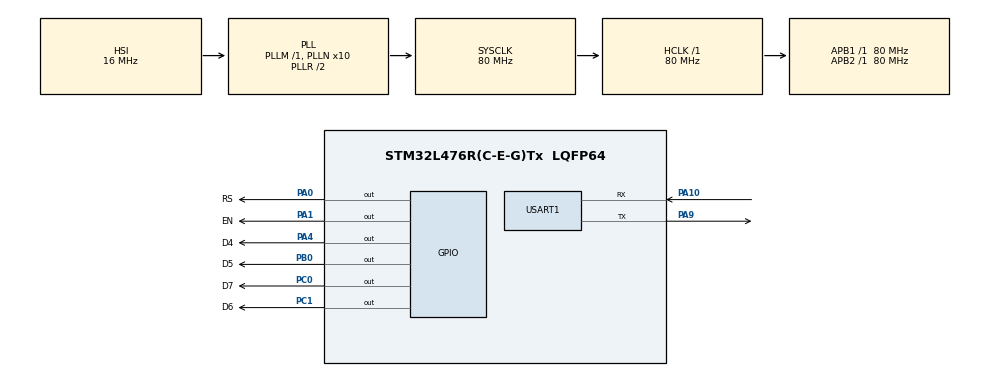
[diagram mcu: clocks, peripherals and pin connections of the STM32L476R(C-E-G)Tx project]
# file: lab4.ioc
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Dma.Request0=USART1_RX
Dma.Request1=USART1_TX
Dma.USART1_RX.0.Direction=DMA_PERIPH_TO_MEMORY
Dma.USART1_RX.0.Instance=DMA1_Channel5
Dma.USART1_RX.0.MemDataAlignment=DMA_MDATAALIGN_BYTE
Dma.USART1_RX.0.MemInc=DMA_MINC_ENABLE
Dma.USART1_RX.0.Mode=DMA_CIRCULAR
Dma.USART1_RX.0.PeriphDataAlignment=DMA_PDATAALIGN_BYTE
Dma.USART1_RX.0.PeriphInc=DMA_PINC_DISABLE
Dma.USART1_RX.0.Priority=DMA_PRIORITY_LOW
Dma.USART1_TX.1.Direction=DMA_MEMORY_TO_PERIPH
Dma.USART1_TX.1.Instance=DMA1_Channel4
Dma.USART1_TX.1.MemDataAlignment=DMA_MDATAALIGN_BYTE
Dma.USART1_TX.1.MemInc=DMA_MINC_ENABLE
Dma.USART1_TX.1.Mode=DMA_CIRCULAR
Dma.USART1_TX.1.PeriphDataAlignment=DMA_PDATAALIGN_BYTE
Dma.USART1_TX.1.PeriphInc=DMA_PINC_DISABLE
Dma.USART1_TX.1.Priority=DMA_PRIORITY_LOW
Mcu.Family=STM32L4
Mcu.Name=STM32L476R(C-E-G)Tx
Mcu.Package=LQFP64
NVIC.DMA1_Channel4_IRQn=true\:0\:0\:false\:false\:true\:false\:true\:true
NVIC.DMA1_Channel5_IRQn=true\:0\:0\:false\:false\:true\:false\:true\:true
NVIC.PriorityGroup=NVIC_PRIORITYGROUP_4
PA0.GPIO_Label=RS
PA0.Signal=GPIO_Output
PA1.GPIO_Label=EN
PA1.Signal=GPIO_Output
PA10.Mode=Asynchronous
PA10.Signal=USART1_RX
PA3.GPIO_Label=USART_RX
PA3.GPIO_Mode=GPIO_MODE_AF_PP
PA3.GPIO_PuPd=GPIO_NOPULL
PA3.GPIO_Speed=GPIO_SPEED_FREQ_VERY_HIGH
PA3.Signal=USART2_RX
PA4.GPIO_Label=D4
PA4.Signal=GPIO_Output
PA9.Mode=Asynchronous
PA9.Signal=USART1_TX
PB0.GPIO_Label=D5
PB0.Signal=GPIO_Output
PC0.GPIO_Label=D7
PC0.Signal=GPIO_Output
PC1.GPIO_Label=D6
PC1.Signal=GPIO_Output
ProjectManager.HeapSize=0x200
ProjectManager.StackSize=0x400
ProjectManager.TargetToolchain=STM32CubeIDE
RCC.ADCFreq_Value=64000000
RCC.AHBFreq_Value=80000000
RCC.APB1Freq_Value=80000000
RCC.APB1TimFreq_Value=80000000
RCC.APB2Freq_Value=80000000
RCC.APB2TimFreq_Value=80000000
RCC.CortexFreq_Value=80000000
RCC.HCLKFreq_Value=80000000
RCC.HSE_VALUE=8000000
RCC.HSI_VALUE=16000000
RCC.LSE_VALUE=32768
RCC.MSI_VALUE=4000000
RCC.PLLN=10
RCC.PLLSourceVirtual=RCC_PLLSOURCE_HSI
RCC.PREFETCH_ENABLE=1
RCC.SYSCLKFreq_VALUE=80000000
RCC.SYSCLKSource=RCC_SYSCLKSOURCE_PLLCLK
RCC.USBFreq_Value=64000000
RCC.VCOOutputFreq_Value=160000000
USART1.VirtualMode-Asynchronous=VM_ASYNC
board=NUCLEO-L476RG

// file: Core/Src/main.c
/* USER CODE BEGIN Header */
/**
  ******************************************************************************
  * @file           : main.c
  * @brief          : Main program body
  ******************************************************************************
  * @attention
  *
  * Copyright (c) 2025 STMicroelectronics.
  * All rights reserved.
  *
  * This software is licensed under terms that can be found in the LICENSE file
  * in the root directory of this software component.
  * If no LICENSE file comes with this software, it is provided AS-IS.
  *
  ******************************************************************************
  */
/* USER CODE END Header */
#include "main.h"

/* USER CODE BEGIN Includes */
#include "lcd_driver.h"
#include <stdio.h>

/* USER CODE END Includes */

UART_HandleTypeDef huart1;
DMA_HandleTypeDef hdma_usart1_rx;
DMA_HandleTypeDef hdma_usart1_tx;

void SystemClock_Config(void);
static void MX_GPIO_Init(void);
static void MX_DMA_Init(void);
static void MX_USART1_UART_Init(void);
/* USER CODE BEGIN PFP */
uint8_t tx_buff[]={0,1,2,3,4,5,6,7,8,9};
uint8_t rx_buff[10];

/* USER CODE END PFP */

int main(void)
{

  /* USER CODE BEGIN 1 */
	char str[20];

  /* USER CODE END 1 */

  /* MCU Configuration--------------------------------------------------------*/

  /* Reset of all peripherals, Initializes the Flash interface and the Systick. */
  HAL_Init();

  /* Configure the system clock */
  SystemClock_Config();

  /* Initialize all configured peripherals */
  MX_GPIO_Init();
  MX_DMA_Init();
  MX_USART1_UART_Init();
  /* USER CODE BEGIN 2 */
  lcd_init();
  /*create_custom_char(0,cc1);
  create_custom_char(1,cc2);
  create_custom_char(2,cc3);
  create_custom_char(3,cc4);
  create_custom_char(5,cc6);
  create_custom_char(6,cc7);
  create_custom_char(7,cc8);*/

  HAL_UART_Transmit_DMA(&huart1, tx_buff, 10);
  HAL_UART_Receive_DMA(&huart1, rx_buff, 10);

  /* USER CODE END 2 */

  /* Infinite loop */
  while (1)
  {

    /* USER CODE BEGIN 3 */
	  lcd_send_string("Custom characters");
	  HAL_Delay(200);
	  setCursor(0, 1);
	  HAL_Delay (250);  // wait for a while
	  for (int i=0; i<10; i++)
	  {
	  sprintf(str, "%d", rx_buff[i]); lcd_send_string(str);
	  HAL_Delay(300);
	  }
	  HAL_Delay(700);
	  lcd_clear();
	  HAL_Delay(200);
  }
  /* USER CODE END 3 */
}

void SystemClock_Config(void)
{
  RCC_OscInitTypeDef RCC_OscInitStruct = {0};
  RCC_ClkInitTypeDef RCC_ClkInitStruct = {0};

  /** Configure the main internal regulator output voltage
  */
  if (HAL_PWREx_ControlVoltageScaling(PWR_REGULATOR_VOLTAGE_SCALE1) != HAL_OK)
  {
    Error_Handler();
  }

  /** Initializes the RCC Oscillators according to the specified parameters
  * in the RCC_OscInitTypeDef structure.
  */
  RCC_OscInitStruct.OscillatorType = RCC_OSCILLATORTYPE_HSI;
  RCC_OscInitStruct.HSIState = RCC_HSI_ON;
  RCC_OscInitStruct.HSICalibrationValue = RCC_HSICALIBRATION_DEFAULT;
  RCC_OscInitStruct.PLL.PLLState = RCC_PLL_ON;
  RCC_OscInitStruct.PLL.PLLSource = RCC_PLLSOURCE_HSI;
  RCC_OscInitStruct.PLL.PLLM = 1;
  RCC_OscInitStruct.PLL.PLLN = 10;
  RCC_OscInitStruct.PLL.PLLP = RCC_PLLP_DIV7;
  RCC_OscInitStruct.PLL.PLLQ = RCC_PLLQ_DIV2;
  RCC_OscInitStruct.PLL.PLLR = RCC_PLLR_DIV2;
  if (HAL_RCC_OscConfig(&RCC_OscInitStruct) != HAL_OK)
  {
    Error_Handler();
  }

  /** Initializes the CPU, AHB and APB buses clocks
  */
  RCC_ClkInitStruct.ClockType = RCC_CLOCKTYPE_HCLK|RCC_CLOCKTYPE_SYSCLK
                              |RCC_CLOCKTYPE_PCLK1|RCC_CLOCKTYPE_PCLK2;
  RCC_ClkInitStruct.SYSCLKSource = RCC_SYSCLKSOURCE_PLLCLK;
  RCC_ClkInitStruct.AHBCLKDivider = RCC_SYSCLK_DIV1;
  RCC_ClkInitStruct.APB1CLKDivider = RCC_HCLK_DIV1;
  RCC_ClkInitStruct.APB2CLKDivider = RCC_HCLK_DIV1;

  if (HAL_RCC_ClockConfig(&RCC_ClkInitStruct, FLASH_LATENCY_4) != HAL_OK)
  {
    Error_Handler();
  }
}

static void MX_USART1_UART_Init(void)
{

  huart1.Instance = USART1;
  huart1.Init.BaudRate = 115200;
  huart1.Init.WordLength = UART_WORDLENGTH_8B;
  huart1.Init.StopBits = UART_STOPBITS_1;
  huart1.Init.Parity = UART_PARITY_NONE;
  huart1.Init.Mode = UART_MODE_TX_RX;
  huart1.Init.HwFlowCtl = UART_HWCONTROL_NONE;
  huart1.Init.OverSampling = UART_OVERSAMPLING_16;
  huart1.Init.OneBitSampling = UART_ONE_BIT_SAMPLE_DISABLE;
  huart1.AdvancedInit.AdvFeatureInit = UART_ADVFEATURE_NO_INIT;
  if (HAL_UART_Init(&huart1) != HAL_OK)
  {
    Error_Handler();
  }

}

static void MX_DMA_Init(void)
{

  /* DMA controller clock enable */
  __HAL_RCC_DMA1_CLK_ENABLE();

  /* DMA interrupt init */
  /* DMA1_Channel4_IRQn interrupt configuration */
  HAL_NVIC_SetPriority(DMA1_Channel4_IRQn, 0, 0);
  HAL_NVIC_EnableIRQ(DMA1_Channel4_IRQn);
  /* DMA1_Channel5_IRQn interrupt configuration */
  HAL_NVIC_SetPriority(DMA1_Channel5_IRQn, 0, 0);
  HAL_NVIC_EnableIRQ(DMA1_Channel5_IRQn);

}

static void MX_GPIO_Init(void)
{
  GPIO_InitTypeDef GPIO_InitStruct = {0};

  /* GPIO Ports Clock Enable */
  __HAL_RCC_GPIOC_CLK_ENABLE();
  __HAL_RCC_GPIOA_CLK_ENABLE();
  __HAL_RCC_GPIOB_CLK_ENABLE();

  /*Configure GPIO pin Output Level */
  HAL_GPIO_WritePin(GPIOC, D7_Pin|D6_Pin, GPIO_PIN_RESET);

  /*Configure GPIO pin Output Level */
  HAL_GPIO_WritePin(GPIOA, RS_Pin|EN_Pin|D4_Pin, GPIO_PIN_RESET);

  /*Configure GPIO pin Output Level */
  HAL_GPIO_WritePin(D5_GPIO_Port, D5_Pin, GPIO_PIN_RESET);

  /*Configure GPIO pins : D7_Pin D6_Pin */
  GPIO_InitStruct.Pin = D7_Pin|D6_Pin;
  GPIO_InitStruct.Mode = GPIO_MODE_OUTPUT_PP;
  GPIO_InitStruct.Pull = GPIO_NOPULL;
  GPIO_InitStruct.Speed = GPIO_SPEED_FREQ_LOW;
  HAL_GPIO_Init(GPIOC, &GPIO_InitStruct);

  /*Configure GPIO pins : RS_Pin EN_Pin D4_Pin */
  GPIO_InitStruct.Pin = RS_Pin|EN_Pin|D4_Pin;
  GPIO_InitStruct.Mode = GPIO_MODE_OUTPUT_PP;
  GPIO_InitStruct.Pull = GPIO_NOPULL;
  GPIO_InitStruct.Speed = GPIO_SPEED_FREQ_LOW;
  HAL_GPIO_Init(GPIOA, &GPIO_InitStruct);

  /*Configure GPIO pin : USART_RX_Pin */
  GPIO_InitStruct.Pin = USART_RX_Pin;
  GPIO_InitStruct.Mode = GPIO_MODE_AF_PP;
  GPIO_InitStruct.Pull = GPIO_NOPULL;
  GPIO_InitStruct.Speed = GPIO_SPEED_FREQ_VERY_HIGH;
  GPIO_InitStruct.Alternate = GPIO_AF7_USART2;
  HAL_GPIO_Init(USART_RX_GPIO_Port, &GPIO_InitStruct);

  /*Configure GPIO pin : D5_Pin */
  GPIO_InitStruct.Pin = D5_Pin;
  GPIO_InitStruct.Mode = GPIO_MODE_OUTPUT_PP;
  GPIO_InitStruct.Pull = GPIO_NOPULL;
  GPIO_InitStruct.Speed = GPIO_SPEED_FREQ_LOW;
  HAL_GPIO_Init(D5_GPIO_Port, &GPIO_InitStruct);

}

void Error_Handler(void)
{
  __disable_irq();
  while (1)
  {
  }
}
